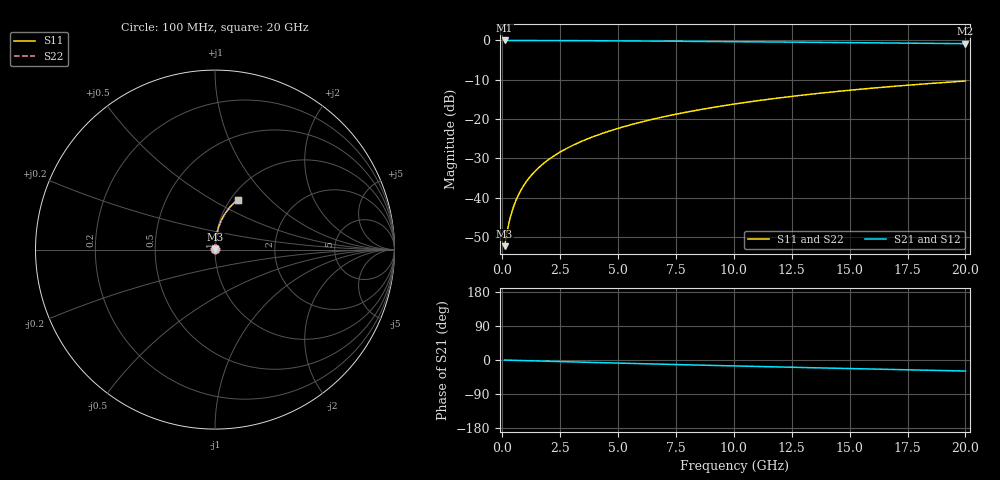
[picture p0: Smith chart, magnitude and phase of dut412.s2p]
! Touchstone file exported from HFSS 2024.1.0
!  File:  C:/UserFiles/LocalFiles/RDL_TSV_Batchsim/temp_RDL_top_412_1779675684.aedt
!  Generated:  10:23:43 AM May 25, 2026
!  Design:  RDL_top
!  Project:  temp_RDL_top_412_1779675684
!  Setup:  Setup1
!  Solution:  Sweep
! Variables:
!  dtsv = 10.80580581um
!  hbump = 3um
!  htsv = 94.07um
!  ldown = 100um
!  lrdl = 394.28um
!  p = 40
!  p1 = 46.27um
!  rhole = 1um
!  t = 450um
!  tdown = 3.915915916um
!  trdl = 4.84um
!  wdown = 15.38538539um
!  wrdl = 17.08um
# GHz S MA R 50.000000
! Terminal data exported
! Port[1] = Box2_T1
! Port[2] = Box2_T2
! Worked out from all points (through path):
!   200 points, 100 MHz to 20 GHz, reference 50 ohm
!   highest |S21| = -0.02 dB at 100 MHz (marker M1); lowest = -0.8 dB at 20 GHz (marker M2)
!   group delay of S21, straight-line fit = 4.02 ps
!   lowest |S11| = -52.3 dB at 100 MHz (marker M3), VSWR 1.00, Z = 50.2 + j0.162 ohm
!   |S11| at or under -10 dB: start of sweep to end of sweep
!   |S22| runs from -52.3 to -10.3 dB; largest |S21 - S12| = 2.4e-15
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0.1  0.002432 41.7  0.9982 -0.2  0.9982 -0.2  0.002432 41.7
! Gamma 0 0 0 0
! Port Impedance 50 0 50 0
0.2  0.003612 59.5  0.9981 -0.3  0.9981 -0.3  0.003613 59.4
0.3  0.004989 68.2  0.998 -0.5  0.998 -0.5  0.004989 68.2
0.4  0.006438 73.0  0.9979 -0.7  0.9979 -0.7  0.006438 73.0
0.5  0.00792 76.0  0.9978 -0.9  0.9978 -0.9  0.007919 76.0
0.6  0.009418 78.0  0.9977 -1.0  0.9977 -1.0  0.009417 78.0
0.8  0.01244 80.5  0.9975 -1.4  0.9975 -1.4  0.01244 80.5
1.1  0.01699 82.4  0.9972 -1.9  0.9972 -1.9  0.01699 82.4
1.3  0.02002 83.1  0.9969 -2.2  0.9969 -2.2  0.02002 83.1
1.5  0.02305 83.6  0.9966 -2.5  0.9966 -2.5  0.02305 83.6
1.8  0.0276 84.0  0.9961 -3.0  0.9961 -3.0  0.0276 84.0
2.1  0.03214 84.3  0.9955 -3.5  0.9955 -3.5  0.03214 84.3
2.7  0.04122 84.5  0.9941 -4.5  0.9941 -4.5  0.04121 84.4
3.5  0.05335 84.3  0.9918 -5.8  0.9918 -5.8  0.05335 84.3
4.2  0.06403 84.1  0.9895 -6.9  0.9895 -6.9  0.06403 84.1
5  0.07634 83.6  0.9865 -8.2  0.9865 -8.2  0.07634 83.6
6.8  0.1044 82.2  0.9788 -11.0  0.9788 -11.0  0.1044 82.2
8.4  0.1297 80.5  0.9714 -13.3  0.9714 -13.3  0.1297 80.5
10.1  0.1567 78.6  0.963 -15.8  0.963 -15.8  0.1567 78.6
13.4  0.2084 74.3  0.9458 -20.4  0.9458 -20.4  0.2083 74.3
16.7  0.258 69.9  0.9276 -24.9  0.9276 -24.9  0.258 69.9
20  0.3046 65.5  0.9088 -29.1  0.9088 -29.1  0.3045 65.5
